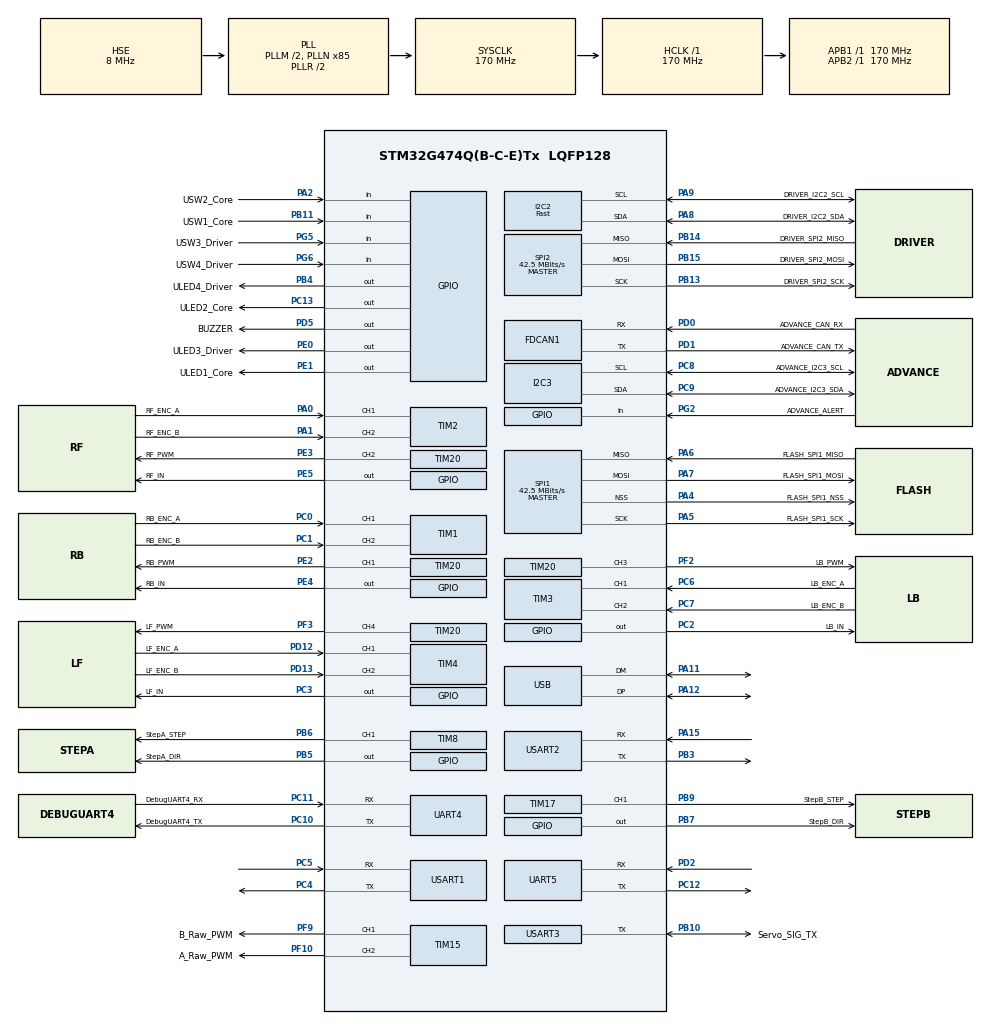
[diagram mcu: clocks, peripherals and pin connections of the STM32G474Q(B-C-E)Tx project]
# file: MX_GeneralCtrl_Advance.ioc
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Dma.Request0=UART5_RX
Dma.Request1=USART1_RX
Dma.UART5_RX.0.Direction=DMA_PERIPH_TO_MEMORY
Dma.UART5_RX.0.EventEnable=DISABLE
Dma.UART5_RX.0.Instance=DMA1_Channel1
Dma.UART5_RX.0.MemDataAlignment=DMA_MDATAALIGN_BYTE
Dma.UART5_RX.0.MemInc=DMA_MINC_ENABLE
Dma.UART5_RX.0.Mode=DMA_NORMAL
Dma.UART5_RX.0.PeriphDataAlignment=DMA_PDATAALIGN_BYTE
Dma.UART5_RX.0.PeriphInc=DMA_PINC_DISABLE
Dma.UART5_RX.0.Polarity=HAL_DMAMUX_REQ_GEN_RISING
Dma.UART5_RX.0.Priority=DMA_PRIORITY_LOW
Dma.UART5_RX.0.RequestNumber=1
Dma.UART5_RX.0.SignalID=NONE
Dma.UART5_RX.0.SyncEnable=DISABLE
Dma.UART5_RX.0.SyncPolarity=HAL_DMAMUX_SYNC_NO_EVENT
Dma.UART5_RX.0.SyncRequestNumber=1
Dma.UART5_RX.0.SyncSignalID=NONE
Dma.USART1_RX.1.Direction=DMA_PERIPH_TO_MEMORY
Dma.USART1_RX.1.EventEnable=DISABLE
Dma.USART1_RX.1.Instance=DMA1_Channel2
Dma.USART1_RX.1.MemDataAlignment=DMA_MDATAALIGN_BYTE
Dma.USART1_RX.1.MemInc=DMA_MINC_ENABLE
Dma.USART1_RX.1.Mode=DMA_NORMAL
Dma.USART1_RX.1.PeriphDataAlignment=DMA_PDATAALIGN_BYTE
Dma.USART1_RX.1.PeriphInc=DMA_PINC_DISABLE
Dma.USART1_RX.1.Polarity=HAL_DMAMUX_REQ_GEN_RISING
Dma.USART1_RX.1.Priority=DMA_PRIORITY_LOW
Dma.USART1_RX.1.RequestNumber=1
Dma.USART1_RX.1.SignalID=NONE
Dma.USART1_RX.1.SyncEnable=DISABLE
Dma.USART1_RX.1.SyncPolarity=HAL_DMAMUX_SYNC_NO_EVENT
Dma.USART1_RX.1.SyncRequestNumber=1
Dma.USART1_RX.1.SyncSignalID=NONE
FDCAN1.CalculateBaudRateNominal=500000
FDCAN1.CalculateTimeBitNominal=2000
FDCAN1.CalculateTimeQuantumNominal=200.0
FDCAN1.ClockDivider=FDCAN_CLOCK_DIV2
FDCAN1.DataPrescaler=17
FDCAN1.DataSyncJumpWidth=1
FDCAN1.DataTimeSeg1=7
FDCAN1.DataTimeSeg2=2
FDCAN1.ExtFiltersNbr=8
FDCAN1.FrameFormat=FDCAN_FRAME_CLASSIC
FDCAN1.NominalPrescaler=17
FDCAN1.NominalSyncJumpWidth=1
FDCAN1.NominalTimeSeg1=7
FDCAN1.NominalTimeSeg2=2
FDCAN1.StdFiltersNbr=28
I2C2.I2C_Speed_Mode=I2C_Fast
I2C2.Timing=0x40621236
I2C3.Timing=0x40B285C2
Mcu.Family=STM32G4
Mcu.Name=STM32G474Q(B-C-E)Tx
Mcu.Package=LQFP128
NVIC.DMA1_Channel1_IRQn=true\:0\:0\:false\:false\:true\:false\:true\:true
NVIC.DMA1_Channel2_IRQn=true\:0\:0\:false\:false\:true\:false\:true\:true
NVIC.FDCAN1_IT0_IRQn=true\:0\:0\:false\:false\:true\:true\:true\:true
NVIC.I2C2_ER_IRQn=true\:0\:0\:false\:false\:true\:true\:true\:true
NVIC.I2C2_EV_IRQn=true\:0\:0\:false\:false\:true\:true\:true\:true
NVIC.I2C3_ER_IRQn=true\:0\:0\:false\:false\:true\:true\:true\:true
NVIC.I2C3_EV_IRQn=true\:0\:0\:false\:false\:true\:true\:true\:true
NVIC.PriorityGroup=NVIC_PRIORITYGROUP_4
NVIC.TIM1_UP_TIM16_IRQn=true\:0\:0\:false\:false\:true\:true\:true\:true
NVIC.TIM5_IRQn=true\:0\:0\:false\:false\:true\:true\:true\:true
NVIC.TIM7_DAC_IRQn=true\:0\:0\:false\:false\:true\:true\:true\:true
NVIC.TIM8_CC_IRQn=true\:0\:0\:false\:false\:true\:true\:true\:true
NVIC.UART4_IRQn=true\:0\:0\:false\:false\:true\:true\:true\:true
NVIC.UART5_IRQn=true\:0\:0\:false\:false\:true\:true\:true\:true
NVIC.USART1_IRQn=true\:0\:0\:false\:false\:true\:true\:true\:true
NVIC.USART2_IRQn=true\:0\:0\:false\:false\:true\:true\:true\:true
NVIC.USART3_IRQn=true\:0\:0\:false\:false\:true\:true\:true\:true
PA0.GPIO_Label=RF_ENC_A
PA0.Signal=S_TIM2_CH1
PA1.GPIO_Label=RF_ENC_B
PA1.Signal=S_TIM2_CH2
PA11.Mode=Device
PA11.Signal=USB_DM
PA12.Mode=Device
PA12.Signal=USB_DP
PA13.Mode=Serial_Wire
PA13.Signal=SYS_JTMS-SWDIO
PA14.Mode=Serial_Wire
PA14.Signal=SYS_JTCK-SWCLK
PA15.Mode=Asynchronous
PA15.Signal=USART2_RX
PA2.GPIO_Label=USW2_Core
PA2.GPIO_PuPd=GPIO_PULLUP
PA2.Signal=GPIO_Input
PA4.GPIO_Label=FLASH_SPI1_NSS
PA4.Mode=NSS_Signal_Hard_Output
PA4.Signal=SPI1_NSS
PA5.GPIO_Label=FLASH_SPI1_SCK
PA5.Mode=Full_Duplex_Master
PA5.Signal=SPI1_SCK
PA6.GPIO_Label=FLASH_SPI1_MISO
PA6.Mode=Full_Duplex_Master
PA6.Signal=SPI1_MISO
PA7.GPIO_Label=FLASH_SPI1_MOSI
PA7.Mode=Full_Duplex_Master
PA7.Signal=SPI1_MOSI
PA8.GPIO_Label=DRIVER_I2C2_SDA
PA8.Mode=I2C
PA8.Signal=I2C2_SDA
PA9.GPIO_Label=DRIVER_I2C2_SCL
PA9.Mode=I2C
PA9.Signal=I2C2_SCL
PB10.GPIO_Label=Servo_SIG_TX
PB10.Mode=Half_duplex(single_wire_mode)
PB10.Signal=USART3_TX
PB11.GPIO_Label=USW1_Core
PB11.GPIO_PuPd=GPIO_PULLUP
PB11.Signal=GPIO_Input
PB13.GPIO_Label=DRIVER_SPI2_SCK
PB13.Mode=Full_Duplex_Master
PB13.Signal=SPI2_SCK
PB14.GPIO_Label=DRIVER_SPI2_MISO
PB14.Mode=Full_Duplex_Master
PB14.Signal=SPI2_MISO
PB15.GPIO_Label=DRIVER_SPI2_MOSI
PB15.Mode=Full_Duplex_Master
PB15.Signal=SPI2_MOSI
PB3.Mode=Asynchronous
PB3.Signal=USART2_TX
PB4.GPIO_Label=ULED4_Driver
PB4.Signal=GPIO_Output
PB5.GPIO_Label=StepA_DIR
PB5.Signal=GPIO_Output
PB6.GPIO_Label=StepA_STEP
PB6.Signal=S_TIM8_CH1
PB7.GPIO_Label=StepB_DIR
PB7.Signal=GPIO_Output
PB9.GPIO_Label=StepB_STEP
PB9.Signal=S_TIM17_CH1
PC0.GPIO_Label=RB_ENC_A
PC0.Signal=S_TIM1_CH1
PC1.GPIO_Label=RB_ENC_B
PC1.Signal=S_TIM1_CH2
PC10.GPIO_Label=DebugUART4_TX
PC10.Mode=Asynchronous
PC10.Signal=UART4_TX
PC11.GPIO_Label=DebugUART4_RX
PC11.Mode=Asynchronous
PC11.Signal=UART4_RX
PC12.Mode=Asynchronous
PC12.Signal=UART5_TX
PC13.GPIO_Label=ULED2_Core
PC13.Signal=GPIO_Output
PC14-OSC32_IN.Mode=LSE-External-Oscillator
PC14-OSC32_IN.Signal=RCC_OSC32_IN
PC15-OSC32_OUT.Mode=LSE-External-Oscillator
PC15-OSC32_OUT.Signal=RCC_OSC32_OUT
PC2.GPIO_Label=LB_IN
PC2.Signal=GPIO_Output
PC3.GPIO_Label=LF_IN
PC3.Signal=GPIO_Output
PC4.GPIO_PuPd=GPIO_NOPULL
PC4.Mode=Asynchronous
PC4.Signal=USART1_TX
PC5.GPIO_PuPd=GPIO_PULLUP
PC5.Mode=Asynchronous
PC5.Signal=USART1_RX
PC6.GPIO_Label=LB_ENC_A
PC6.Signal=S_TIM3_CH1
PC7.GPIO_Label=LB_ENC_B
PC7.Signal=S_TIM3_CH2
PC8.GPIO_Label=ADVANCE_I2C3_SCL
PC8.Mode=I2C
PC8.Signal=I2C3_SCL
PC9.GPIO_Label=ADVANCE_I2C3_SDA
PC9.Mode=I2C
PC9.Signal=I2C3_SDA
PD0.GPIO_Label=ADVANCE_CAN_RX
PD0.Mode=FDCAN_Activate
PD0.Signal=FDCAN1_RX
PD1.GPIO_Label=ADVANCE_CAN_TX
PD1.Mode=FDCAN_Activate
PD1.Signal=FDCAN1_TX
PD12.GPIO_Label=LF_ENC_A
PD12.Signal=S_TIM4_CH1
PD13.GPIO_Label=LF_ENC_B
PD13.Signal=S_TIM4_CH2
PD2.Mode=Asynchronous
PD2.Signal=UART5_RX
PD5.GPIO_Label=BUZZER
PD5.GPIO_ModeDefaultOutputPP=GPIO_MODE_OUTPUT_PP
PD5.GPIO_PuPd=GPIO_NOPULL
PD5.Signal=GPIO_Output
PE0.GPIO_Label=ULED3_Driver
PE0.Signal=GPIO_Output
PE1.GPIO_Label=ULED1_Core
PE1.Signal=GPIO_Output
PE2.GPIO_Label=RB_PWM
PE2.Signal=S_TIM20_CH1
PE3.GPIO_Label=RF_PWM
PE3.Signal=S_TIM20_CH2
PE4.GPIO_Label=RB_IN
PE4.Signal=GPIO_Output
PE5.GPIO_Label=RF_IN
PE5.Signal=GPIO_Output
PF0-OSC_IN.Mode=HSE-External-Oscillator
PF0-OSC_IN.Signal=RCC_OSC_IN
PF1-OSC_OUT.Mode=HSE-External-Oscillator
PF1-OSC_OUT.Signal=RCC_OSC_OUT
PF10.GPIO_Label=A_Raw_PWM
PF10.Signal=S_TIM15_CH2
PF2.GPIO_Label=LB_PWM
PF2.Signal=S_TIM20_CH3
PF3.GPIO_Label=LF_PWM
PF3.Signal=S_TIM20_CH4
PF9.GPIO_Label=B_Raw_PWM
PF9.Signal=S_TIM15_CH1
PG2.GPIO_Label=ADVANCE_ALERT
PG2.Signal=GPIO_Input
PG5.GPIO_Label=USW3_Driver
PG5.GPIO_PuPd=GPIO_PULLUP
PG5.Signal=GPIO_Input
PG6.GPIO_Label=USW4_Driver
PG6.GPIO_PuPd=GPIO_PULLUP
PG6.Signal=GPIO_Input
ProjectManager.HeapSize=0x200
ProjectManager.StackSize=0x400
ProjectManager.TargetToolchain=MDK-ARM V5.32
RCC.ADC12Freq_Value=170000000
RCC.ADC345Freq_Value=170000000
RCC.AHBFreq_Value=170000000
RCC.APB1Freq_Value=170000000
RCC.APB1TimFreq_Value=170000000
RCC.APB2Freq_Value=170000000
RCC.APB2TimFreq_Value=170000000
RCC.CK48CLockSelection=RCC_USBCLKSOURCE_HSI48
RCC.CortexFreq_Value=170000000
RCC.EXTERNAL_CLOCK_VALUE=12288000
RCC.HCLKFreq_Value=170000000
RCC.HSE_VALUE=8000000
RCC.HSI48_VALUE=48000000
RCC.HSI_VALUE=16000000
RCC.PLLM=RCC_PLLM_DIV2
RCC.PLLN=85
RCC.PLLQ=RCC_PLLQ_DIV6
RCC.PLLSourceVirtual=RCC_PLLSOURCE_HSE
RCC.RTCClockSelection=RCC_RTCCLKSOURCE_LSE
RCC.SYSCLKFreq_VALUE=170000000
RCC.SYSCLKSource=RCC_SYSCLKSOURCE_PLLCLK
RCC.USBFreq_Value=48000000
RCC.VCOOutputFreq_Value=340000000
SH.S_TIM15_CH1.0=TIM15_CH1,PWM Generation1 CH1
SH.S_TIM15_CH2.0=TIM15_CH2,PWM Generation2 CH2
SH.S_TIM17_CH1.0=TIM17_CH1,PWM Generation1 CH1
SH.S_TIM1_CH1.0=TIM1_CH1,Encoder_Interface
SH.S_TIM1_CH2.0=TIM1_CH2,Encoder_Interface
SH.S_TIM20_CH1.0=TIM20_CH1,PWM Generation1 CH1
SH.S_TIM20_CH2.0=TIM20_CH2,PWM Generation2 CH2
SH.S_TIM20_CH3.0=TIM20_CH3,PWM Generation3 CH3
SH.S_TIM20_CH4.0=TIM20_CH4,PWM Generation4 CH4
SH.S_TIM2_CH1.0=TIM2_CH1,Encoder_Interface
SH.S_TIM2_CH2.0=TIM2_CH2,Encoder_Interface
SH.S_TIM3_CH1.0=TIM3_CH1,Encoder_Interface
SH.S_TIM3_CH2.0=TIM3_CH2,Encoder_Interface
SH.S_TIM4_CH1.0=TIM4_CH1,Encoder_Interface
SH.S_TIM4_CH2.0=TIM4_CH2,Encoder_Interface
SH.S_TIM8_CH1.0=TIM8_CH1,PWM Generation1 CH1
SPI1.BaudRatePrescaler=SPI_BAUDRATEPRESCALER_4
SPI1.CalculateBaudRate=42.5 MBits/s
SPI1.Direction=SPI_DIRECTION_2LINES
SPI1.Mode=SPI_MODE_MASTER
SPI1.VirtualNSS=VM_NSSHARD
SPI1.VirtualType=VM_MASTER
SPI2.BaudRatePrescaler=SPI_BAUDRATEPRESCALER_4
SPI2.CalculateBaudRate=42.5 MBits/s
SPI2.Direction=SPI_DIRECTION_2LINES
SPI2.Mode=SPI_MODE_MASTER
SPI2.VirtualType=VM_MASTER
STMicroelectronics.X-CUBE-ALGOBUILD.1.4.0.LibraryCcDSPOoLibraryJjDSPOoLibrary=true
TIM1.AutoReloadPreload=TIM_AUTORELOAD_PRELOAD_ENABLE
TIM15.Channel-PWM\ Generation1\ CH1=TIM_CHANNEL_1
TIM15.Channel-PWM\ Generation2\ CH2=TIM_CHANNEL_2
TIM16.AutoReloadPreload=TIM_AUTORELOAD_PRELOAD_ENABLE
TIM16.PeriodNoDither=1000-1
TIM16.Prescaler=170-1
TIM17.Channel=TIM_CHANNEL_1
TIM17.OCMode_PWM=TIM_OCMODE_PWM2
TIM17.PeriodNoDither=1000-1
TIM17.Prescaler=1000-1
TIM17.PulseNoDither_1=500
TIM2.AutoReloadPreload=TIM_AUTORELOAD_PRELOAD_ENABLE
TIM20.AutoReloadPreload=TIM_AUTORELOAD_PRELOAD_ENABLE
TIM20.Channel-PWM\ Generation1\ CH1=TIM_CHANNEL_1
TIM20.Channel-PWM\ Generation2\ CH2=TIM_CHANNEL_2
TIM20.Channel-PWM\ Generation3\ CH3=TIM_CHANNEL_3
TIM20.Channel-PWM\ Generation4\ CH4=TIM_CHANNEL_4
TIM20.PeriodNoDither=10000-1
TIM20.Prescaler=170-1
TIM3.AutoReloadPreload=TIM_AUTORELOAD_PRELOAD_ENABLE
TIM4.AutoReloadPreload=TIM_AUTORELOAD_PRELOAD_ENABLE
TIM5.AutoReloadPreload=TIM_AUTORELOAD_PRELOAD_ENABLE
TIM5.PeriodNoDither=1000-1
TIM5.Prescaler=170-1
TIM6.PeriodNoDither=65535
TIM6.Prescaler=170-1
TIM7.PeriodNoDither=10000-1
TIM7.Prescaler=170-1
TIM8.Channel-PWM\ Generation1\ CH1=TIM_CHANNEL_1
TIM8.OCMode_PWM-PWM\ Generation1\ CH1=TIM_OCMODE_PWM2
TIM8.PeriodNoDither=1000-1
TIM8.Prescaler=170
TIM8.PulseNoDither_1=500
USART1.VirtualMode-Asynchronous=VM_ASYNC
USART2.VirtualMode-Asynchronous=VM_ASYNC
USART3.VirtualMode-Half_duplex(single_wire_mode)=VM_ASYNC
VP_RTC_VS_RTC_Activate.Mode=RTC_Enabled
VP_STMicroelectronics.X-CUBE-ALGOBUILD_VS_DSPOoLibraryJjLibrary_1.4.0_1.4.0.Mode=DSPOoLibraryJjLibrary
VP_SYS_VS_DBSignals.Mode=DisableDeadBatterySignals
VP_TIM15_VS_ClockSourceINT.Mode=Internal
VP_TIM16_VS_ClockSourceINT.Mode=Enable_Timer
VP_TIM17_VS_ClockSourceINT.Mode=Enable_Timer
VP_TIM20_VS_ClockSourceINT.Mode=Internal
VP_TIM5_VS_ClockSourceINT.Mode=Internal
VP_TIM6_VS_ClockSourceINT.Mode=Enable_Timer
VP_TIM7_VS_ClockSourceINT.Mode=Enable_Timer
VP_TIM8_VS_ClockSourceINT.Mode=Internal
board=custom

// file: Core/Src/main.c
/* USER CODE BEGIN Header */
/**
 ******************************************************************************
 * @file           : main.c
 * @brief          : Main program body
 ******************************************************************************
 * @attention
 *
 * Copyright (c) 2025 STMicroelectronics.
 * All rights reserved.
 *
 * This software is licensed under terms that can be found in the LICENSE file
 * in the root directory of this software component.
 * If no LICENSE file comes with this software, it is provided AS-IS.
 *
 ******************************************************************************
 */
/* USER CODE END Header */
#include "main.h"
#include "dma.h"
#include "fdcan.h"
#include "i2c.h"
#include "rtc.h"
#include "spi.h"
#include "tim.h"
#include "usart.h"
#include "usb.h"
#include "gpio.h"

/* USER CODE BEGIN Includes */
#include "main.h"
#include "task.h"
#include "drv_math.h"
#include "PID.h"
#include "jy901.h"
#include "motor.h"
#include "Encoder.h"
#include "delay.h"
#include "ZX_servo.h"
#include "BSP.h"
#include "StepMotor.h"
#include "arm_math.h"
#include "TJC.h"
#include "stm32g4xx_it.h"
#include "BSP.h"
#include "drv_math.h"
#include "keys.h"
/* USER CODE END Includes */

/* USER CODE BEGIN PV */
extern uint8_t rx_data[20]; // 接收缓冲区
int mode = 0;               // 模式选择变量
/* USER CODE END PV */

void SystemClock_Config(void);

int main(void)
{

    /* MCU Configuration--------------------------------------------------------*/

    /* Reset of all peripherals, Initializes the Flash interface and the Systick. */
    HAL_Init();

    /* Configure the system clock */
    SystemClock_Config();

    /* Initialize all configured peripherals */
    MX_GPIO_Init();
    MX_DMA_Init();
    MX_RTC_Init();
    MX_SPI1_Init();
    MX_UART4_Init();
    MX_USB_PCD_Init();
    MX_I2C2_Init();
    MX_I2C3_Init();
    MX_SPI2_Init();
    MX_TIM1_Init();
    MX_TIM2_Init();
    MX_TIM3_Init();
    MX_TIM4_Init();
    MX_TIM15_Init();
    MX_TIM20_Init();
    MX_UART5_Init();
    MX_USART1_UART_Init();
    MX_FDCAN1_Init();
    MX_TIM8_Init();
    MX_USART3_UART_Init();
    MX_TIM5_Init();
    MX_TIM6_Init();
    MX_TIM16_Init();
    MX_USART2_UART_Init();
    MX_TIM17_Init();
    MX_TIM7_Init();
    /* USER CODE BEGIN 2 */
    task_init(); // 初始化任务
    HAL_Delay(3000);
    // 按键1双击模式+1，否则默认为0，再双击按键，开始启动
    while (keys_readState(&keys2, KEY_LONG_MASK) == 0)
    {
        if (keys_readState(&keys1, KEY_DOUBLE_MASK) == 1)
        {
            mode++;
            if (mode > 2)
            {
                mode = 0; // 模式超过2，归零
            }
        }
    }

    /* USER CODE END 2 */

    /* Infinite loop */
    /* USER CODE BEGIN WHILE */
    while (1)
    {
        switch (mode)
        {
        case 1:
            task_point_follow(); // 任务点位跟随函数
            break;
        case 2:
            task_point_follow(); // 画圆
            break;
        default:
            break;
        }
    }
    /* USER CODE END WHILE */

}

void SystemClock_Config(void)
{
    RCC_OscInitTypeDef RCC_OscInitStruct = {0};
    RCC_ClkInitTypeDef RCC_ClkInitStruct = {0};

    /** Configure the main internal regulator output voltage
     */
    HAL_PWREx_ControlVoltageScaling(PWR_REGULATOR_VOLTAGE_SCALE1_BOOST);

    /** Configure LSE Drive Capability
     */
    HAL_PWR_EnableBkUpAccess();
    __HAL_RCC_LSEDRIVE_CONFIG(RCC_LSEDRIVE_LOW);

    /** Initializes the RCC Oscillators according to the specified parameters
     * in the RCC_OscInitTypeDef structure.
     */
    RCC_OscInitStruct.OscillatorType = RCC_OSCILLATORTYPE_HSI48 | RCC_OSCILLATORTYPE_HSE | RCC_OSCILLATORTYPE_LSE;
    RCC_OscInitStruct.HSEState = RCC_HSE_ON;
    RCC_OscInitStruct.LSEState = RCC_LSE_ON;
    RCC_OscInitStruct.HSI48State = RCC_HSI48_ON;
    RCC_OscInitStruct.PLL.PLLState = RCC_PLL_ON;
    RCC_OscInitStruct.PLL.PLLSource = RCC_PLLSOURCE_HSE;
    RCC_OscInitStruct.PLL.PLLM = RCC_PLLM_DIV2;
    RCC_OscInitStruct.PLL.PLLN = 85;
    RCC_OscInitStruct.PLL.PLLP = RCC_PLLP_DIV2;
    RCC_OscInitStruct.PLL.PLLQ = RCC_PLLQ_DIV6;
    RCC_OscInitStruct.PLL.PLLR = RCC_PLLR_DIV2;
    if (HAL_RCC_OscConfig(&RCC_OscInitStruct) != HAL_OK)
    {
        Error_Handler();
    }

    /** Initializes the CPU, AHB and APB buses clocks
     */
    RCC_ClkInitStruct.ClockType = RCC_CLOCKTYPE_HCLK | RCC_CLOCKTYPE_SYSCLK | RCC_CLOCKTYPE_PCLK1 | RCC_CLOCKTYPE_PCLK2;
    RCC_ClkInitStruct.SYSCLKSource = RCC_SYSCLKSOURCE_PLLCLK;
    RCC_ClkInitStruct.AHBCLKDivider = RCC_SYSCLK_DIV1;
    RCC_ClkInitStruct.APB1CLKDivider = RCC_HCLK_DIV1;
    RCC_ClkInitStruct.APB2CLKDivider = RCC_HCLK_DIV1;

    if (HAL_RCC_ClockConfig(&RCC_ClkInitStruct, FLASH_LATENCY_4) != HAL_OK)
    {
        Error_Handler();
    }
}

void Error_Handler(void)
{
    __disable_irq();
    while (1)
    {
    }
}
